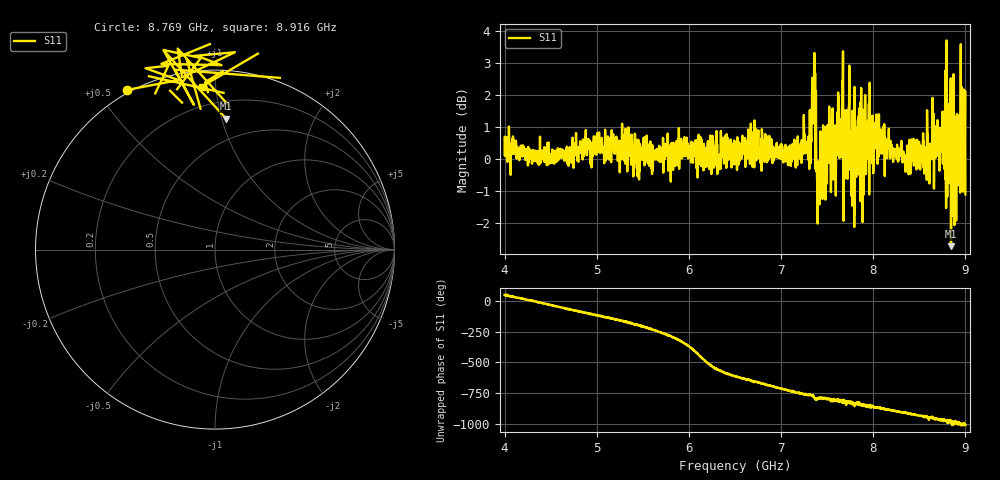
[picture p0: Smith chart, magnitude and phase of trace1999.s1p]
! Created with skrf 1.8.0 (http://scikit-rf.org).
# Hz S RI R 50.0
!freq ReS11 ImS11
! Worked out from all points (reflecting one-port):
!   1601 points, 4 GHz to 9 GHz, reference 50 ohm
!   lowest |S11| = -2.7 dB at 8.844 GHz (marker M1), VSWR 6.45, Z = 16.5 + j51.7 ohm
!   phase of S11 starts at 48 deg and turns -1057 deg over the sweep
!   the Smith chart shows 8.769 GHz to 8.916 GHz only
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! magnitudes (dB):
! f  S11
! 4 GHz  0.1
! 4.625 GHz  0.1
! 5.25 GHz  -0.4
! 5.875 GHz  0.4
! 6.5 GHz  0.0
! 7.125 GHz  0.4
! 7.294 GHz  0.0
! 7.347 GHz  1.9
! 7.369 GHz  2.7
! 7.4 GHz  -0.2
! 7.416 GHz  -1.4
! 7.481 GHz  -1.3
! 7.591 GHz  0.3
! 7.647 GHz  0.8
! 7.688 GHz  1.5
! 7.7 GHz  -0.6
! 7.75 GHz  -0.3
! 7.788 GHz  0.3
! 7.856 GHz  0.1
! 7.909 GHz  1.7
! 7.928 GHz  1.0
! 8.375 GHz  0.0
! 8.766 GHz  1.2
! 8.816 GHz  0.2
! 8.844 GHz  -2.7
! 8.919 GHz  -0.4
! 8.972 GHz  0.6
! 9 GHz  -1.1
